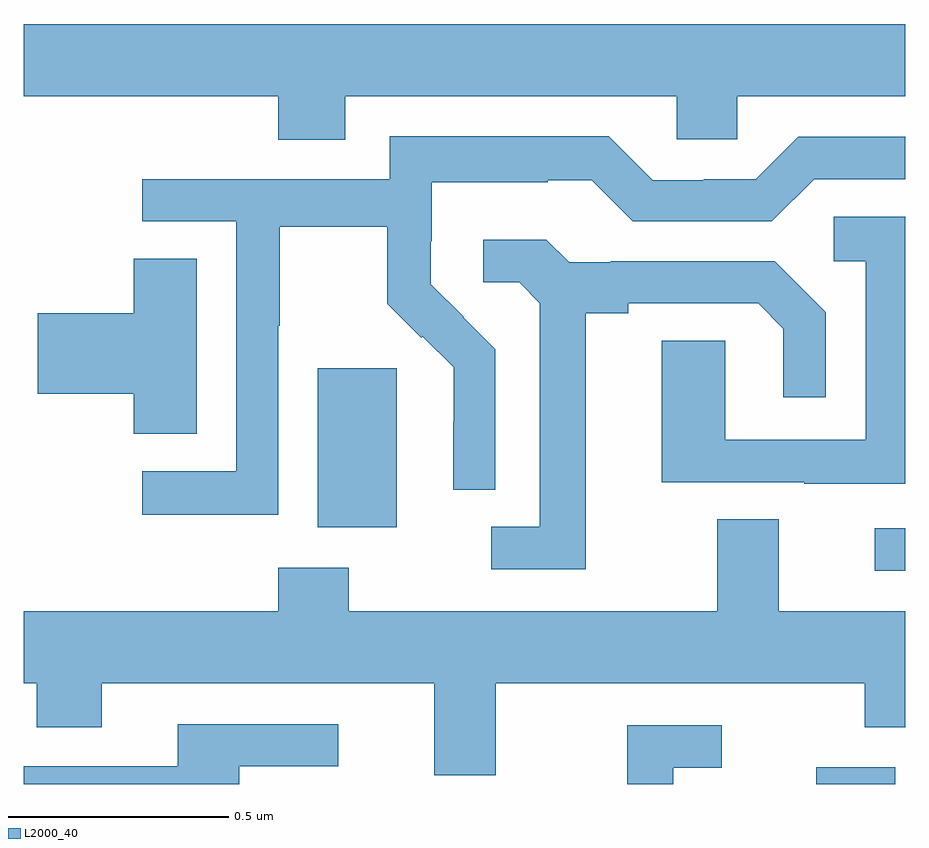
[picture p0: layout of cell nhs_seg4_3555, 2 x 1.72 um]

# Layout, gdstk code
import gdstk
lib = gdstk.Library(unit=1e-6, precision=1e-09)
def R(c, l, rs):  # rectangles x0, y0, x1, y1
    for r in rs: c.add(gdstk.rectangle(r[:2], r[2:], *l))
def P(c, l, *ps):  # polygons
    for p in ps: c.add(gdstk.Polygon(p, *l))
L2000_40 = (2000, 40)

nhs_seg4_3555 = lib.new_cell('nhs_seg4_3555')
R(nhs_seg4_3555, L2000_40, [(155.798,821.9,155.977,821.938), (155.931,822.384,156,822.48), (154.667,822.482,154.846,822.843)])
P(nhs_seg4_3555, L2000_40, [(154.729,823.46),(155.481,823.46),(155.481,823.362),(155.619,823.362),(155.619,823.46),(156,823.46),(156,823.624),(154,823.624),(154,823.46),(154.577,823.46),(154.577,823.361),(154.729,823.361)],
  [(154.578,822.94),(154.581,822.94),(154.581,823.164),(154.825,823.164),(154.825,822.989),(154.902,822.912),(154.905,822.915),(154.976,822.845),(154.976,822.722),(154.974,822.722),(154.974,822.568),(155.07,822.568),(155.07,822.886),(154.997,822.959),(154.998,822.96),(154.924,823.034),(154.924,823.131),(154.926,823.131),(154.926,823.265),(155.189,823.265),(155.189,823.269),(155.289,823.269),(155.382,823.176),(155.697,823.176),(155.793,823.272),(156,823.272),(156,823.368),(155.757,823.368),(155.661,823.272),(155.543,823.272),(155.543,823.269),(155.427,823.269),(155.327,823.369),(154.83,823.369),(154.83,823.272),(154.269,823.272),(154.269,823.176),(154.482,823.176),(154.482,822.609),(154.269,822.609),(154.269,822.511),(154.578,822.511)],
  [(156,823.187),(155.838,823.187),(155.838,823.086),(155.91,823.086),(155.91,822.681),(155.592,822.681),(155.592,822.905),(155.447,822.905),(155.447,822.585),(155.771,822.585),(155.771,822.581),(156,822.581)],
  [(155.275,822.968),(155.371,822.968),(155.371,822.99),(155.666,822.99),(155.723,822.933),(155.723,822.777),(155.82,822.777),(155.82,822.97),(155.704,823.086),(155.332,823.086),(155.332,823.083),(155.238,823.083),(155.186,823.135),(155.043,823.135),(155.043,823.038),(155.124,823.038),(155.171,822.991),(155.171,822.483),(155.061,822.483),(155.061,822.387),(155.275,822.387)],
  [(154.393,823.091),(154.25,823.091),(154.25,822.968),(154.032,822.968),(154.032,822.785),(154.25,822.785),(154.25,822.694),(154.393,822.694)],
  [(155.071,822.128),(155.908,822.128),(155.908,822.029),(156,822.029),(156,822.292),(155.713,822.292),(155.713,822.5),(155.573,822.5),(155.573,822.292),(154.737,822.292),(154.737,822.391),(154.577,822.391),(154.577,822.292),(154,822.292),(154,822.128),(154.03,822.128),(154.03,822.029),(154.177,822.029),(154.177,822.128),(154.931,822.128),(154.931,821.92),(155.071,821.92)],
  [(154.489,821.94),(154.714,821.94),(154.714,822.036),(154.349,822.036),(154.349,821.94),(154,821.94),(154,821.9),(154.489,821.9)],
  [(155.473,821.937),(155.584,821.937),(155.584,822.033),(155.369,822.033),(155.369,821.9),(155.473,821.9)])

lib.write_gds('nhs_seg4_3555.gds')
